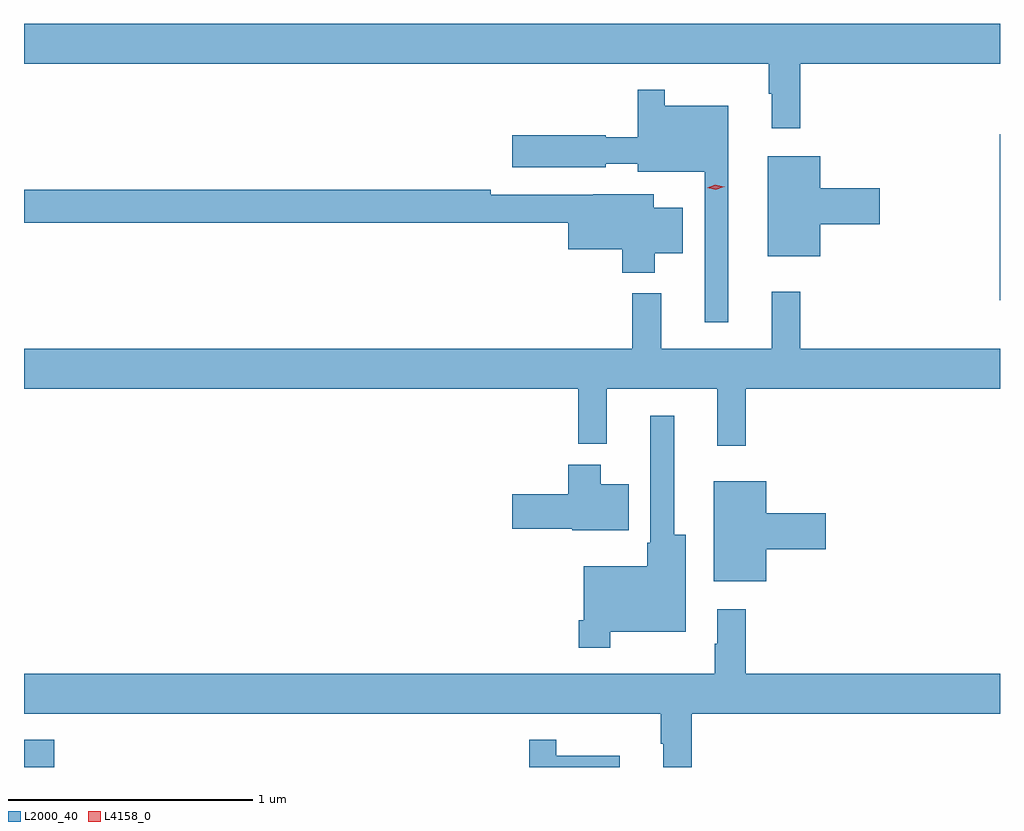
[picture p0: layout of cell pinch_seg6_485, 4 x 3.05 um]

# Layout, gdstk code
import gdstk
lib = gdstk.Library(unit=1e-6, precision=1e-09)
def R(c, l, rs):  # rectangles x0, y0, x1, y1
    for r in rs: c.add(gdstk.rectangle(r[:2], r[2:], *l))
def P(c, l, *ps):  # polygons
    for p in ps: c.add(gdstk.Polygon(p, *l))
L2000_40 = (2000, 40)
L4158_0 = (4158, 0)

pinch_seg6_485 = lib.new_cell('pinch_seg6_485')
R(pinch_seg6_485, L2000_40, [(876.178,916.482,876.302,916.594), (880.177,918.396,880.178,919.076)])
P(pinch_seg6_485, L2000_40, [(879.359,919.364),(880.178,919.364),(880.178,919.528),(876.178,919.528),(876.178,919.364),(879.231,919.364),(879.231,919.241),(879.242,919.241),(879.242,919.101),(879.359,919.101)],
  [(879.064,919.192),(878.803,919.192),(878.803,919.258),(878.693,919.258),(878.693,919.063),(878.562,919.063),(878.562,919.071),(878.178,919.071),(878.178,918.941),(878.562,918.941),(878.562,918.954),(878.693,918.954),(878.693,918.923),(878.967,918.923),(878.967,918.306),(879.064,918.306)],
  [(879.442,918.707),(879.685,918.707),(879.685,918.854),(879.442,918.854),(879.442,918.985),(879.227,918.985),(879.227,918.575),(879.442,918.575)],
  [(878.764,918.587),(878.878,918.587),(878.878,918.775),(878.758,918.775),(878.758,918.829),(878.512,918.829),(878.512,918.828),(878.09,918.828),(878.09,918.848),(876.178,918.848),(876.178,918.712),(878.408,918.712),(878.408,918.605),(878.63,918.605),(878.63,918.509),(878.764,918.509)],
  [(879.137,918.032),(880.178,918.032),(880.178,918.196),(879.359,918.196),(879.359,918.43),(879.242,918.43),(879.242,918.196),(878.789,918.196),(878.789,918.424),(878.671,918.424),(878.671,918.196),(876.178,918.196),(876.178,918.032),(878.449,918.032),(878.449,917.807),(878.567,917.807),(878.567,918.032),(879.02,918.032),(879.02,917.799),(879.137,917.799)],
  [(878.581,917.036),(878.89,917.036),(878.89,917.434),(878.842,917.434),(878.842,917.923),(878.745,917.923),(878.745,917.401),(878.733,917.401),(878.733,917.305),(878.472,917.305),(878.472,917.083),(878.452,917.083),(878.452,916.971),(878.581,916.971)],
  [(878.656,917.641),(878.542,917.641),(878.542,917.722),(878.408,917.722),(878.408,917.601),(878.178,917.601),(878.178,917.459),(878.424,917.459),(878.424,917.453),(878.656,917.453)],
  [(879.22,917.375),(879.463,917.375),(879.463,917.522),(879.22,917.522),(879.22,917.653),(879.005,917.653),(879.005,917.243),(879.22,917.243)],
  [(878.915,916.7),(880.178,916.7),(880.178,916.864),(879.137,916.864),(879.137,917.128),(879.02,917.128),(879.02,916.988),(879.009,916.988),(879.009,916.864),(876.178,916.864),(876.178,916.7),(878.787,916.7),(878.787,916.577),(878.798,916.577),(878.798,916.482),(878.915,916.482)],
  [(878.62,916.528),(878.359,916.528),(878.359,916.594),(878.249,916.594),(878.249,916.482),(878.62,916.482)])
P(pinch_seg6_485, L4158_0, [(879.014,918.848),(878.978,918.856),(878.977,918.856),(878.978,918.856),(879.012,918.868),(879.048,918.861),(879.049,918.861),(879.048,918.86)])

lib.write_gds('pinch_seg6_485.gds')
